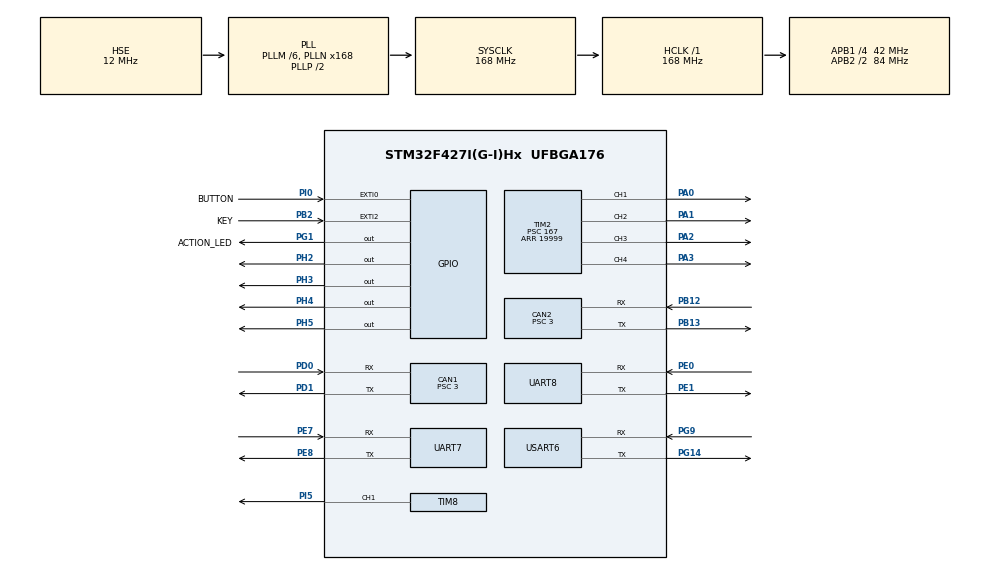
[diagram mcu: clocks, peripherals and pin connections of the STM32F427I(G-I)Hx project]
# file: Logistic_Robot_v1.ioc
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CAN1.BS1=CAN_BS1_10TQ
CAN1.BS2=CAN_BS2_3TQ
CAN1.CalculateBaudRate=1000000
CAN1.CalculateTimeBit=1000
CAN1.CalculateTimeQuantum=71.42857142857143
CAN1.Prescaler=3
CAN2.BS1=CAN_BS1_10TQ
CAN2.BS2=CAN_BS2_3TQ
CAN2.CalculateBaudRate=1000000
CAN2.CalculateTimeBit=1000
CAN2.CalculateTimeQuantum=71.42857142857143
CAN2.Prescaler=3
Dma.Request0=UART8_RX
Dma.Request1=UART8_TX
Dma.Request2=USART6_RX
Dma.Request3=USART6_TX
Dma.Request4=UART7_TX
Dma.Request5=UART7_RX
Dma.UART7_RX.5.Direction=DMA_PERIPH_TO_MEMORY
Dma.UART7_RX.5.FIFOMode=DMA_FIFOMODE_DISABLE
Dma.UART7_RX.5.Instance=DMA1_Stream3
Dma.UART7_RX.5.MemDataAlignment=DMA_MDATAALIGN_BYTE
Dma.UART7_RX.5.MemInc=DMA_MINC_ENABLE
Dma.UART7_RX.5.Mode=DMA_NORMAL
Dma.UART7_RX.5.PeriphDataAlignment=DMA_PDATAALIGN_BYTE
Dma.UART7_RX.5.PeriphInc=DMA_PINC_DISABLE
Dma.UART7_RX.5.Priority=DMA_PRIORITY_LOW
Dma.UART7_TX.4.Direction=DMA_MEMORY_TO_PERIPH
Dma.UART7_TX.4.FIFOMode=DMA_FIFOMODE_DISABLE
Dma.UART7_TX.4.Instance=DMA1_Stream1
Dma.UART7_TX.4.MemDataAlignment=DMA_MDATAALIGN_BYTE
Dma.UART7_TX.4.MemInc=DMA_MINC_ENABLE
Dma.UART7_TX.4.Mode=DMA_NORMAL
Dma.UART7_TX.4.PeriphDataAlignment=DMA_PDATAALIGN_BYTE
Dma.UART7_TX.4.PeriphInc=DMA_PINC_DISABLE
Dma.UART7_TX.4.Priority=DMA_PRIORITY_LOW
Dma.UART8_RX.0.Direction=DMA_PERIPH_TO_MEMORY
Dma.UART8_RX.0.FIFOMode=DMA_FIFOMODE_DISABLE
Dma.UART8_RX.0.Instance=DMA1_Stream6
Dma.UART8_RX.0.MemDataAlignment=DMA_MDATAALIGN_BYTE
Dma.UART8_RX.0.MemInc=DMA_MINC_ENABLE
Dma.UART8_RX.0.Mode=DMA_CIRCULAR
Dma.UART8_RX.0.PeriphDataAlignment=DMA_PDATAALIGN_BYTE
Dma.UART8_RX.0.PeriphInc=DMA_PINC_DISABLE
Dma.UART8_RX.0.Priority=DMA_PRIORITY_HIGH
Dma.UART8_TX.1.Direction=DMA_MEMORY_TO_PERIPH
Dma.UART8_TX.1.FIFOMode=DMA_FIFOMODE_DISABLE
Dma.UART8_TX.1.Instance=DMA1_Stream0
Dma.UART8_TX.1.MemDataAlignment=DMA_MDATAALIGN_BYTE
Dma.UART8_TX.1.MemInc=DMA_MINC_ENABLE
Dma.UART8_TX.1.Mode=DMA_NORMAL
Dma.UART8_TX.1.PeriphDataAlignment=DMA_PDATAALIGN_BYTE
Dma.UART8_TX.1.PeriphInc=DMA_PINC_DISABLE
Dma.UART8_TX.1.Priority=DMA_PRIORITY_MEDIUM
Dma.USART6_RX.2.Direction=DMA_PERIPH_TO_MEMORY
Dma.USART6_RX.2.FIFOMode=DMA_FIFOMODE_DISABLE
Dma.USART6_RX.2.Instance=DMA2_Stream1
Dma.USART6_RX.2.MemDataAlignment=DMA_MDATAALIGN_BYTE
Dma.USART6_RX.2.MemInc=DMA_MINC_ENABLE
Dma.USART6_RX.2.Mode=DMA_CIRCULAR
Dma.USART6_RX.2.PeriphDataAlignment=DMA_PDATAALIGN_BYTE
Dma.USART6_RX.2.PeriphInc=DMA_PINC_DISABLE
Dma.USART6_RX.2.Priority=DMA_PRIORITY_HIGH
Dma.USART6_TX.3.Direction=DMA_MEMORY_TO_PERIPH
Dma.USART6_TX.3.FIFOMode=DMA_FIFOMODE_DISABLE
Dma.USART6_TX.3.Instance=DMA2_Stream6
Dma.USART6_TX.3.MemDataAlignment=DMA_MDATAALIGN_BYTE
Dma.USART6_TX.3.MemInc=DMA_MINC_ENABLE
Dma.USART6_TX.3.Mode=DMA_NORMAL
Dma.USART6_TX.3.PeriphDataAlignment=DMA_PDATAALIGN_BYTE
Dma.USART6_TX.3.PeriphInc=DMA_PINC_DISABLE
Dma.USART6_TX.3.Priority=DMA_PRIORITY_MEDIUM
FREERTOS.Tasks01=defaultTask,0,128,StartDefaultTask,Default,NULL,Dynamic,NULL,NULL
Mcu.Family=STM32F4
Mcu.Name=STM32F427I(G-I)Hx
Mcu.Package=UFBGA176
NVIC.CAN1_RX0_IRQn=true\:5\:0\:false\:false\:true\:true\:true\:true\:true
NVIC.CAN2_RX0_IRQn=true\:5\:0\:false\:false\:true\:true\:true\:true\:true
NVIC.DMA1_Stream0_IRQn=true\:5\:0\:false\:false\:true\:true\:false\:true\:true
NVIC.DMA1_Stream1_IRQn=true\:5\:0\:false\:false\:true\:true\:false\:true\:true
NVIC.DMA1_Stream3_IRQn=true\:5\:0\:false\:false\:true\:true\:false\:true\:true
NVIC.DMA1_Stream6_IRQn=true\:5\:0\:false\:false\:true\:true\:false\:true\:true
NVIC.DMA2_Stream1_IRQn=true\:5\:0\:false\:false\:true\:true\:false\:true\:true
NVIC.DMA2_Stream6_IRQn=true\:5\:0\:false\:false\:true\:true\:false\:true\:true
NVIC.EXTI0_IRQn=true\:5\:0\:false\:false\:true\:true\:true\:true\:true
NVIC.EXTI2_IRQn=true\:5\:0\:false\:false\:true\:true\:true\:true\:true
NVIC.PriorityGroup=NVIC_PRIORITYGROUP_4
NVIC.UART7_IRQn=true\:5\:0\:false\:false\:true\:true\:true\:true\:true
NVIC.UART8_IRQn=true\:5\:0\:false\:false\:true\:true\:true\:true\:true
NVIC.USART6_IRQn=true\:5\:0\:false\:false\:true\:true\:true\:true\:true
PA0/WKUP.Signal=S_TIM2_CH1_ETR
PA1.Signal=S_TIM2_CH2
PA13.Mode=Serial_Wire
PA13.Signal=SYS_JTMS-SWDIO
PA14.Mode=Serial_Wire
PA14.Signal=SYS_JTCK-SWCLK
PA2.Signal=S_TIM2_CH3
PA3.Signal=S_TIM2_CH4
PB12.Mode=CAN_Activate
PB12.Signal=CAN2_RX
PB13.Mode=CAN_Activate
PB13.Signal=CAN2_TX
PB2/BOOT1.GPIO_Label=KEY
PB2/BOOT1.GPIO_ModeDefaultEXTI=GPIO_MODE_IT_RISING_FALLING
PB2/BOOT1.GPIO_PuPd=GPIO_NOPULL
PB2/BOOT1.Signal=GPXTI2
PD0.Mode=CAN_Activate
PD0.Signal=CAN1_RX
PD1.Mode=CAN_Activate
PD1.Signal=CAN1_TX
PE0.Mode=Asynchronous
PE0.Signal=UART8_RX
PE1.Mode=Asynchronous
PE1.Signal=UART8_TX
PE7.Mode=Asynchronous
PE7.Signal=UART7_RX
PE8.Mode=Asynchronous
PE8.Signal=UART7_TX
PG1.GPIO_Label=ACTION_LED
PG1.GPIO_PuPd=GPIO_PULLUP
PG1.Signal=GPIO_Output
PG14.Mode=Asynchronous
PG14.Signal=USART6_TX
PG9.Mode=Asynchronous
PG9.Signal=USART6_RX
PH0/OSC_IN.Mode=HSE-External-Oscillator
PH0/OSC_IN.Signal=RCC_OSC_IN
PH1/OSC_OUT.Mode=HSE-External-Oscillator
PH1/OSC_OUT.Signal=RCC_OSC_OUT
PH2.PinState=GPIO_PIN_SET
PH2.Signal=GPIO_Output
PH3.PinState=GPIO_PIN_SET
PH3.Signal=GPIO_Output
PH4.PinState=GPIO_PIN_SET
PH4.Signal=GPIO_Output
PH5.PinState=GPIO_PIN_SET
PH5.Signal=GPIO_Output
PI0.GPIO_Label=BUTTON
PI0.GPIO_ModeDefaultEXTI=GPIO_MODE_IT_RISING_FALLING
PI0.Signal=GPXTI0
PI5.Signal=S_TIM8_CH1
ProjectManager.HeapSize=0x200
ProjectManager.StackSize=0x400
ProjectManager.TargetToolchain=MDK-ARM V5
RCC.48MHZClocksFreq_Value=84000000
RCC.AHBFreq_Value=168000000
RCC.APB1CLKDivider=RCC_HCLK_DIV4
RCC.APB1Freq_Value=42000000
RCC.APB1TimFreq_Value=84000000
RCC.APB2CLKDivider=RCC_HCLK_DIV2
RCC.APB2Freq_Value=84000000
RCC.APB2TimFreq_Value=168000000
RCC.CortexFreq_Value=168000000
RCC.HCLKFreq_Value=168000000
RCC.HSE_VALUE=12000000
RCC.HSI_VALUE=16000000
RCC.LSE_VALUE=32768
RCC.PLLM=6
RCC.PLLN=168
RCC.PLLSourceVirtual=RCC_PLLSOURCE_HSE
RCC.SYSCLKFreq_VALUE=168000000
RCC.SYSCLKSource=RCC_SYSCLKSOURCE_PLLCLK
RCC.VCOOutputFreq_Value=336000000
SH.S_TIM2_CH1_ETR.0=TIM2_CH1,PWM Generation1 CH1
SH.S_TIM2_CH2.0=TIM2_CH2,PWM Generation2 CH2
SH.S_TIM2_CH3.0=TIM2_CH3,PWM Generation3 CH3
SH.S_TIM2_CH4.0=TIM2_CH4,PWM Generation4 CH4
SH.S_TIM8_CH1.0=TIM8_CH1,PWM Generation1 CH1
TIM2.AutoReloadPreload=TIM_AUTORELOAD_PRELOAD_DISABLE
TIM2.Channel-PWM\ Generation1\ CH1=TIM_CHANNEL_1
TIM2.Channel-PWM\ Generation2\ CH2=TIM_CHANNEL_2
TIM2.Channel-PWM\ Generation3\ CH3=TIM_CHANNEL_3
TIM2.Channel-PWM\ Generation4\ CH4=TIM_CHANNEL_4
TIM2.Period=19999
TIM2.Prescaler=167
TIM2.Pulse-PWM\ Generation1\ CH1=0
TIM2.Pulse-PWM\ Generation2\ CH2=0
TIM2.Pulse-PWM\ Generation3\ CH3=0
TIM2.Pulse-PWM\ Generation4\ CH4=0
TIM8.Channel-PWM\ Generation1\ CH1=TIM_CHANNEL_1
TIM8.Period=19999
TIM8.Prescaler=167
TIM8.Pulse-PWM\ Generation1\ CH1=2000
UART7.VirtualMode=Asynchronous
UART8.VirtualMode=Asynchronous
USART6.VirtualMode=VM_ASYNC
VP_FREERTOS_VS_CMSIS_V1.Mode=CMSIS_V1
board=custom

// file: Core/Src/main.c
/* USER CODE BEGIN Header */
/**
  ******************************************************************************
  * @file           : main.c
  * @brief          : Main program body
  ******************************************************************************
  * @attention
  *
  * Copyright (c) 2023 STMicroelectronics.
  * All rights reserved.
  *
  * This software is licensed under terms that can be found in the LICENSE file
  * in the root directory of this software component.
  * If no LICENSE file comes with this software, it is provided AS-IS.
  *
  ******************************************************************************
  */
/* USER CODE END Header */
#include "main.h"
#include "cmsis_os.h"
#include "can.h"
#include "dma.h"
#include "tim.h"
#include "usart.h"
#include "gpio.h"

/* USER CODE BEGIN Includes */
#include <stdarg.h>
#include <stdio.h>

#include <stdlib.h>
#include "commu_task.h"
#include "struct_typedef.h"
#include "bsp_usart.h"
#include "chassis_task.h"
#include "servo_task.h"
#include "CAN_receive.h"
#include "CAN_cmd_all.h"
#include "gear_motor_ctrl.h"
#include "bsp_can.h"
#include "servo.h"
#include "motor_ctrl.h"

extern uint8_t cnt;
extern UART_HandleTypeDef huart6;
void usart_printf(const char *fmt,...)
{
    static uint8_t tx_buf[256] = {0};
    static va_list ap;
    static uint16_t len;
    va_start(ap, fmt);

    len = vsprintf((char *)tx_buf, fmt, ap);

    va_end(ap);

		HAL_UART_Transmit(&huart6, tx_buf, len, 100);
    usart6_tx_dma_enable(tx_buf, len);

}
/* USER CODE END Includes */

/* USER CODE BEGIN PV */
extern servo_t servo[8];
extern const motor_6020_measure_t*	motor_6020;

/* USER CODE END PV */

void SystemClock_Config(void);
void MX_FREERTOS_Init(void);

int main(void)
{
  /* USER CODE BEGIN 1 */
	uint8_t rising_falling_flag1 ;
  /* USER CODE END 1 */

  /* MCU Configuration--------------------------------------------------------*/

  /* Reset of all peripherals, Initializes the Flash interface and the Systick. */
  HAL_Init();

  /* Configure the system clock */
  SystemClock_Config();

  /* Initialize all configured peripherals */
  MX_GPIO_Init();
  MX_DMA_Init();
  MX_UART8_Init();
  MX_USART6_UART_Init();
  MX_CAN1_Init();
  MX_TIM2_Init();
  MX_TIM8_Init();
  MX_UART7_Init();
  MX_CAN2_Init();
  /* USER CODE BEGIN 2 */
	can_filter_init();
	servo_init();
	CAN_angleControl(CAN_M1_ID, 0);
	angle_m6020_init();
  /* USER CODE END 2 */

  /* Call init function for freertos objects (in freertos.c) */
  MX_FREERTOS_Init();

  /* Start scheduler */
  osKernelStart();

  /* We should never get here as control is now taken by the scheduler */
  /* Infinite loop */
	while(1){
		//CAN_cmd_6020(2000,2000,2000,2000);
	//CAN_cmd_chassis(5000,5000,5000,5000);
	}
}

void SystemClock_Config(void)
{
  RCC_OscInitTypeDef RCC_OscInitStruct = {0};
  RCC_ClkInitTypeDef RCC_ClkInitStruct = {0};

  /** Configure the main internal regulator output voltage
  */
  __HAL_RCC_PWR_CLK_ENABLE();
  __HAL_PWR_VOLTAGESCALING_CONFIG(PWR_REGULATOR_VOLTAGE_SCALE1);

  /** Initializes the RCC Oscillators according to the specified parameters
  * in the RCC_OscInitTypeDef structure.
  */
  RCC_OscInitStruct.OscillatorType = RCC_OSCILLATORTYPE_HSE;
  RCC_OscInitStruct.HSEState = RCC_HSE_ON;
  RCC_OscInitStruct.PLL.PLLState = RCC_PLL_ON;
  RCC_OscInitStruct.PLL.PLLSource = RCC_PLLSOURCE_HSE;
  RCC_OscInitStruct.PLL.PLLM = 6;
  RCC_OscInitStruct.PLL.PLLN = 168;
  RCC_OscInitStruct.PLL.PLLP = RCC_PLLP_DIV2;
  RCC_OscInitStruct.PLL.PLLQ = 4;
  if (HAL_RCC_OscConfig(&RCC_OscInitStruct) != HAL_OK)
  {
    Error_Handler();
  }

  /** Initializes the CPU, AHB and APB buses clocks
  */
  RCC_ClkInitStruct.ClockType = RCC_CLOCKTYPE_HCLK|RCC_CLOCKTYPE_SYSCLK
                              |RCC_CLOCKTYPE_PCLK1|RCC_CLOCKTYPE_PCLK2;
  RCC_ClkInitStruct.SYSCLKSource = RCC_SYSCLKSOURCE_PLLCLK;
  RCC_ClkInitStruct.AHBCLKDivider = RCC_SYSCLK_DIV1;
  RCC_ClkInitStruct.APB1CLKDivider = RCC_HCLK_DIV4;
  RCC_ClkInitStruct.APB2CLKDivider = RCC_HCLK_DIV2;

  if (HAL_RCC_ClockConfig(&RCC_ClkInitStruct, FLASH_LATENCY_5) != HAL_OK)
  {
    Error_Handler();
  }
}

void Error_Handler(void)
{
  __disable_irq();
  while (1)
  {
  }
}

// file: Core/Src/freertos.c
/* USER CODE BEGIN Header */
/**
  ******************************************************************************
  * File Name          : freertos.c
  * Description        : Code for freertos applications
  ******************************************************************************
  * @attention
  *
  * Copyright (c) 2023 STMicroelectronics.
  * All rights reserved.
  *
  * This software is licensed under terms that can be found in the LICENSE file
  * in the root directory of this software component.
  * If no LICENSE file comes with this software, it is provided AS-IS.
  *
  ******************************************************************************
  */
/* USER CODE END Header */

#include "FreeRTOS.h"
#include "task.h"
#include "main.h"
#include "cmsis_os.h"

/* USER CODE BEGIN Includes */
#include "commu_task.h"
#include "chassis_task.h"
#include "servo_task.h"
#include "CAN_cmd_all.h"
#include "gear_motor_ctrl.h"
/* USER CODE END Includes */

/* USER CODE BEGIN Variables */
osThreadId commuTaskHandle;
osThreadId servoTaskHandle;
osThreadId chassisTaskHandle;
osThreadId m2006TaskHandle;
/* USER CODE END Variables */
osThreadId defaultTaskHandle;

void StartDefaultTask(void const * argument);

void MX_FREERTOS_Init(void); /* (MISRA C 2004 rule 8.1) */

/* GetIdleTaskMemory prototype (linked to static allocation support) */
void vApplicationGetIdleTaskMemory( StaticTask_t **ppxIdleTaskTCBBuffer, StackType_t **ppxIdleTaskStackBuffer, uint32_t *pulIdleTaskStackSize );

/* USER CODE BEGIN GET_IDLE_TASK_MEMORY */
static StaticTask_t xIdleTaskTCBBuffer;
static StackType_t xIdleStack[configMINIMAL_STACK_SIZE];

void vApplicationGetIdleTaskMemory( StaticTask_t **ppxIdleTaskTCBBuffer, StackType_t **ppxIdleTaskStackBuffer, uint32_t *pulIdleTaskStackSize )
{
  *ppxIdleTaskTCBBuffer = &xIdleTaskTCBBuffer;
  *ppxIdleTaskStackBuffer = &xIdleStack[0];
  *pulIdleTaskStackSize = configMINIMAL_STACK_SIZE;
  /* place for user code */
}
/* USER CODE END GET_IDLE_TASK_MEMORY */

void MX_FREERTOS_Init(void) {

  /* Create the thread(s) */
  /* definition and creation of defaultTask */
  osThreadDef(defaultTask, StartDefaultTask, osPriorityNormal, 0, 128);
  defaultTaskHandle = osThreadCreate(osThread(defaultTask), NULL);

  /* USER CODE BEGIN RTOS_THREADS */
  /* add threads, ... */
	osThreadDef(commuTask, commu_task,osPriorityHigh,0,1024);
	commuTaskHandle = osThreadCreate(osThread(commuTask),NULL);

	osThreadDef(chassisTask, chassis_task,osPriorityHigh,0,1024);
	chassisTaskHandle = osThreadCreate(osThread(chassisTask),NULL);

	osThreadDef(m2006Task, m2006_task,osPriorityHigh,0,1024);
	m2006TaskHandle = osThreadCreate(osThread(m2006Task),NULL);

	osThreadDef(servoTask, servo_task,osPriorityHigh,0,512);
	servoTaskHandle = osThreadCreate(osThread(servoTask),NULL);

  /* USER CODE END RTOS_THREADS */

}

void StartDefaultTask(void const * argument)
{
  for(;;)
  {
    osDelay(1);
  }
}
